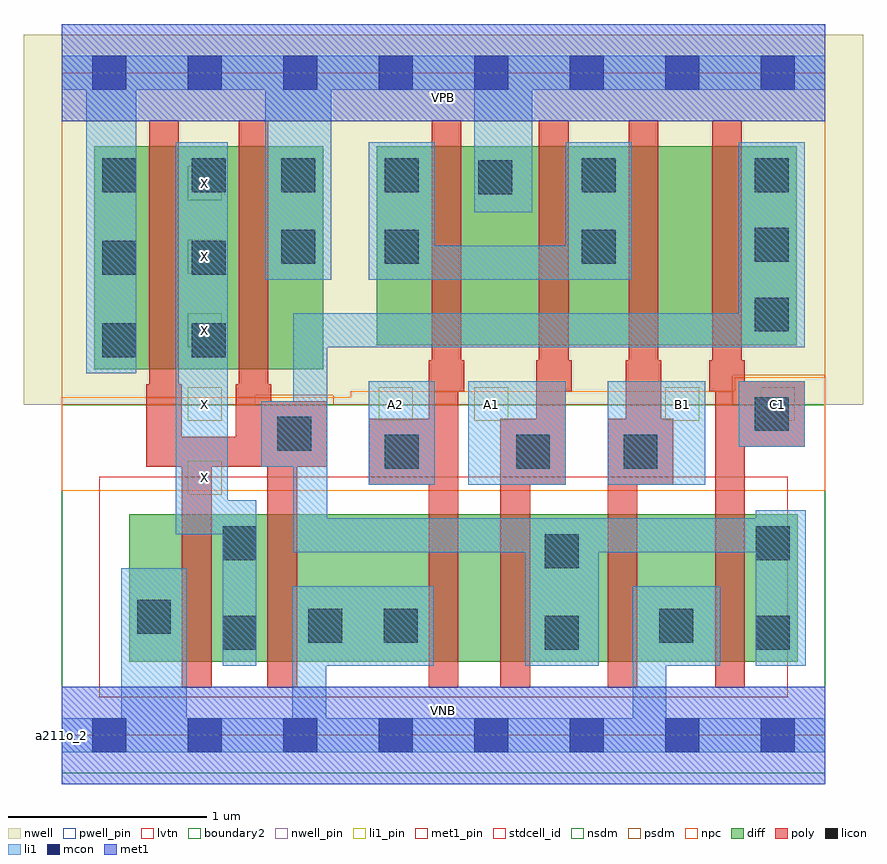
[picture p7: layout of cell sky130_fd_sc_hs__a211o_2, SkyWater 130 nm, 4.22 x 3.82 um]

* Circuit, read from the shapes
.subckt sky130_fd_sc_hs__a211o_2 A1 A2 B1 C1 VGND VNB VPB VPWR X
XM1 X n1 VGND VNB sky130_fd_pr__nfet_01v8_lvt w=0.74 l=0.15 m=2
XM2 n2 A2 VGND VNB sky130_fd_pr__nfet_01v8_lvt w=0.74 l=0.15
XM3 n1 A1 n2 VNB sky130_fd_pr__nfet_01v8_lvt w=0.74 l=0.15
XM4 VGND B1 n1 VNB sky130_fd_pr__nfet_01v8_lvt w=0.74 l=0.15
XM5 n1 C1 VGND VNB sky130_fd_pr__nfet_01v8_lvt w=0.74 l=0.15
XM6 X n1 VPWR VPB sky130_fd_pr__pfet_01v8 w=1.12 l=0.15 m=2
XM7 VPWR A2 n3 VPB sky130_fd_pr__pfet_01v8 w=1 l=0.15
XM8 n3 A1 VPWR VPB sky130_fd_pr__pfet_01v8 w=1 l=0.15
XM9 n4 B1 n3 VPB sky130_fd_pr__pfet_01v8 w=1 l=0.15
XM10 n1 C1 n4 VPB sky130_fd_pr__pfet_01v8 w=1 l=0.15
.ends

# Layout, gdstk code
import gdstk
lib = gdstk.Library(unit=1e-6, precision=1e-09)
def R(c, l, rs):  # rectangles x0, y0, x1, y1
    for r in rs: c.add(gdstk.rectangle(r[:2], r[2:], *l))
def A(c, l, x, y, w, h, nx, ny, dx, dy):  # array of equal rectangles
    R(c, l, [(x+i*dx, y+j*dy, x+i*dx+w, y+j*dy+h) for i in range(nx) for j in range(ny)])
def P(c, l, *ps):  # polygons
    for p in ps: c.add(gdstk.Polygon(p, *l))
nwell_pin = (64, 16)
nwell = (64, 20)
diff = (65, 20)
poly = (66, 20)
licon = (66, 44)
li1_pin = (67, 16)
li1 = (67, 20)
mcon = (67, 44)
met1_pin = (68, 16)
met1 = (68, 20)
stdcell_id = (81, 4)
nsdm = (93, 44)
psdm = (94, 20)
npc = (95, 20)
pwell_pin = (122, 16)
lvtn = (125, 44)
boundary2 = (236, 0)

sky130_fd_sc_hs__a211o_2 = lib.new_cell('sky130_fd_sc_hs__a211o_2')
R(sky130_fd_sc_hs__a211o_2, nwell_pin, [(0,3.085,3.84,3.33)])
R(sky130_fd_sc_hs__a211o_2, nwell, [(-0.19,1.66,4.03,3.52)])
R(sky130_fd_sc_hs__a211o_2, diff, [(0.34,0.37,3.7,1.11), (0.165,1.84,1.315,2.96), (1.585,1.96,3.695,2.96)])
P(sky130_fd_sc_hs__a211o_2, poly, [(3.735,1.78),(3.435,1.78),(3.435,1.885),(3.42,1.885),(3.42,3.09),(3.27,3.09),(3.27,1.885),(3.255,1.885),(3.255,1.73),(3.285,1.73),(3.285,0.24),(3.435,0.24),(3.435,1.45),(3.735,1.45)],
  [(3.075,1.59),(3.015,1.59),(3.015,1.885),(3,1.885),(3,3.09),(2.85,3.09),(2.85,1.885),(2.835,1.885),(2.835,1.59),(2.745,1.59),(2.745,0.24),(2.895,0.24),(2.895,1.26),(3.075,1.26)],
  [(2.565,1.885),(2.55,1.885),(2.55,3.09),(2.4,3.09),(2.4,1.885),(2.385,1.885),(2.385,1.59),(2.205,1.59),(2.205,0.24),(2.355,0.24),(2.355,1.26),(2.535,1.26),(2.535,1.73),(2.565,1.73)],
  [(2.025,1.885),(2.01,1.885),(2.01,3.09),(1.86,3.09),(1.86,1.885),(1.845,1.885),(1.845,1.59),(1.545,1.59),(1.545,1.26),(1.845,1.26),(1.845,0.24),(1.995,0.24),(1.995,1.73),(2.025,1.73)],
  [(1.335,1.68),(1.055,1.68),(1.055,1.765),(1.04,1.765),(1.04,3.09),(0.89,3.09),(0.89,1.765),(0.875,1.765),(0.875,1.5),(0.605,1.5),(0.605,1.765),(0.59,1.765),(0.59,3.09),(0.44,3.09),(0.44,1.765),(0.425,1.765),(0.425,1.35),(0.605,1.35),(0.605,0.24),(0.755,0.24),(0.755,1.35),(1.035,1.35),(1.035,0.24),(1.185,0.24),(1.185,1.35),(1.335,1.35)])
A(sky130_fd_sc_hs__a211o_2, licon, 3.485, 2.03, 0.17, 0.17, 1, 3, 0, 0.35)
A(sky130_fd_sc_hs__a211o_2, licon, 0.205, 2.73, 0.17, 0.17, 3, 1, 0.45, 0)
R(sky130_fd_sc_hs__a211o_2, licon, [(0.81,0.43,0.98,0.6), (2.43,0.43,2.6,0.6), (3.49,0.43,3.66,0.6), (1.24,0.465,1.41,0.635), (1.62,0.465,1.79,0.635), (3.005,0.465,3.175,0.635), (0.38,0.51,0.55,0.68), (2.43,0.84,2.6,1.01), (0.81,0.88,0.98,1.05), (3.49,0.88,3.66,1.05), (1.625,1.34,1.795,1.51), (2.285,1.34,2.455,1.51), (2.825,1.34,2.995,1.51), (1.085,1.43,1.255,1.6), (3.485,1.53,3.655,1.7), (0.205,1.9,0.375,2.07), (0.655,1.9,0.825,2.07), (0.205,2.315,0.375,2.485), (0.655,2.315,0.825,2.485), (1.105,2.37,1.275,2.54), (1.625,2.37,1.795,2.54), (2.615,2.37,2.785,2.54), (2.095,2.72,2.265,2.89), (1.625,2.73,1.795,2.9), (2.615,2.73,2.785,2.9)])
A(sky130_fd_sc_hs__a211o_2, li1_pin, 0.635, 1.21, 0.17, 0.17, 1, 5, 0, 0.37)
R(sky130_fd_sc_hs__a211o_2, li1_pin, [(1.595,1.58,1.765,1.75), (2.075,1.58,2.245,1.75), (3.035,1.58,3.205,1.75), (3.515,1.58,3.685,1.75)])
R(sky130_fd_sc_hs__a211o_2, li1, [(1.545,1.26,1.875,1.78), (2.045,1.26,2.535,1.78), (2.745,1.26,3.235,1.78), (3.405,1.45,3.735,1.78)])
P(sky130_fd_sc_hs__a211o_2, li1, [(1.025,2.29),(1.025,3.245),(0.375,3.245),(0.375,1.82),(0.125,1.82),(0.125,3.245),(0,3.245),(0,3.415),(3.84,3.415),(3.84,3.245),(2.365,3.245),(2.365,2.63),(2.075,2.63),(2.075,3.245),(1.355,3.245),(1.355,2.29)],
  [(1.16,0.085),(1.16,0.75),(1.87,0.75),(1.87,0.35),(1.33,0.35),(1.33,0.085),(2.87,0.085),(2.87,0.75),(3.31,0.75),(3.31,0.35),(3.04,0.35),(3.04,0.085),(3.84,0.085),(3.84,-0.085),(0,-0.085),(0,0.085),(0.3,0.085),(0.3,0.84),(0.63,0.84),(0.63,0.085)],
  [(1.165,0.92),(1.165,1.35),(1.005,1.35),(1.005,1.68),(1.165,1.68),(1.165,2.12),(3.405,2.12),(3.405,2.98),(3.735,2.98),(3.735,1.95),(1.335,1.95),(1.335,1.09),(3.49,1.09),(3.49,1.13),(3.74,1.13),(3.74,0.35),(3.49,0.35),(3.49,0.92),(2.7,0.92),(2.7,0.35),(2.33,0.35),(2.33,0.92)],
  [(2.535,2.46),(2.535,2.98),(2.865,2.98),(2.865,2.29),(1.545,2.29),(1.545,2.98),(1.875,2.98),(1.875,2.46)],
  [(0.575,1.01),(0.575,2.98),(0.835,2.98),(0.835,1.18),(0.98,1.18),(0.98,0.35),(0.81,0.35),(0.81,1.01)])
A(sky130_fd_sc_hs__a211o_2, mcon, 0.155, -0.085, 0.17, 0.17, 8, 2, 0.48, 3.33)
R(sky130_fd_sc_hs__a211o_2, met1_pin, [(0,0,3.84,0.245), (0,3.085,3.84,3.33)])
R(sky130_fd_sc_hs__a211o_2, met1, [(0,-0.245,3.84,0.245), (0,3.085,3.84,3.575)])
R(sky130_fd_sc_hs__a211o_2, stdcell_id, [(0,0,3.84,3.33)])
R(sky130_fd_sc_hs__a211o_2, nsdm, [(0,-0.19,3.84,1.66)])
P(sky130_fd_sc_hs__a211o_2, psdm, [(3.84,3.52),(0,3.52),(0,1.66),(0.975,1.66),(0.975,1.71),(1.365,1.71),(1.365,1.66),(3.375,1.66),(3.375,1.81),(3.84,1.81)])
P(sky130_fd_sc_hs__a211o_2, npc, [(3.84,1.8),(3.385,1.8),(3.385,1.73),(1.455,1.73),(1.455,1.7),(0,1.7),(0,1.23),(3.84,1.23)])
R(sky130_fd_sc_hs__a211o_2, pwell_pin, [(0,0,3.84,0.245)])
R(sky130_fd_sc_hs__a211o_2, lvtn, [(0.19,0.19,3.65,1.3)])
R(sky130_fd_sc_hs__a211o_2, boundary2, [(0,0,3.84,3.33)])
sky130_fd_sc_hs__a211o_2.add(gdstk.Label('a211o_2', (0,0), layer=83, texttype=44))
sky130_fd_sc_hs__a211o_2.add(gdstk.Label('VNB', (1.92,0.123), layer=64, texttype=59))
sky130_fd_sc_hs__a211o_2.add(gdstk.Label('VPB', (1.92,3.208), layer=64, texttype=5))
sky130_fd_sc_hs__a211o_2.add(gdstk.Label('VPWR', (1.92,3.208), layer=68, texttype=5))
sky130_fd_sc_hs__a211o_2.add(gdstk.Label('VGND', (1.92,0.123), layer=68, texttype=5))
sky130_fd_sc_hs__a211o_2.add(gdstk.Label('C1', (3.6,1.665), layer=67, texttype=5))
sky130_fd_sc_hs__a211o_2.add(gdstk.Label('B1', (3.12,1.665), layer=67, texttype=5))
sky130_fd_sc_hs__a211o_2.add(gdstk.Label('A2', (1.68,1.665), layer=67, texttype=5))
sky130_fd_sc_hs__a211o_2.add(gdstk.Label('A1', (2.16,1.665), layer=67, texttype=5))
sky130_fd_sc_hs__a211o_2.add(gdstk.Label('X', (0.72,1.295), layer=67, texttype=5))
sky130_fd_sc_hs__a211o_2.add(gdstk.Label('X', (0.72,1.665), layer=67, texttype=5))
sky130_fd_sc_hs__a211o_2.add(gdstk.Label('X', (0.72,2.035), layer=67, texttype=5))
sky130_fd_sc_hs__a211o_2.add(gdstk.Label('X', (0.72,2.405), layer=67, texttype=5))
sky130_fd_sc_hs__a211o_2.add(gdstk.Label('X', (0.72,2.775), layer=67, texttype=5))

lib.write_gds('sky130_fd_sc_hs__a211o_2.gds')
